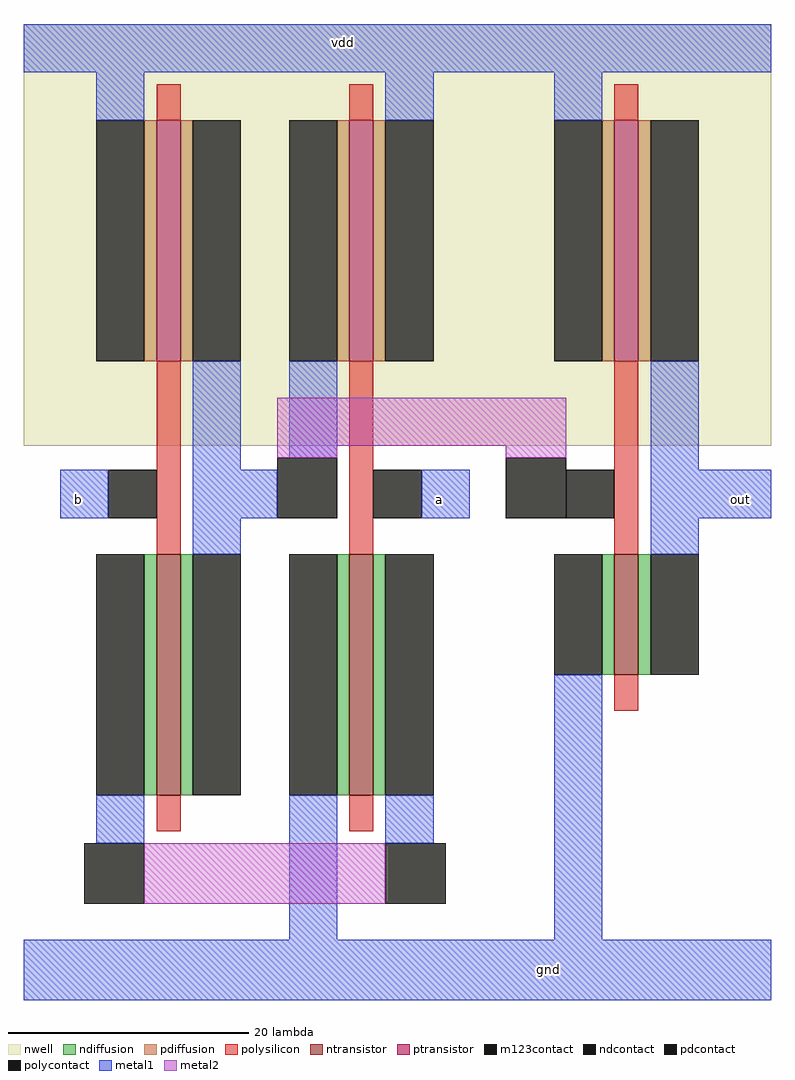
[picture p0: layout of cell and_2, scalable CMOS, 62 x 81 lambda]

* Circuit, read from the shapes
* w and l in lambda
.subckt and_2 a b gnd out vdd
M1 n1 b n2 VSUBS nfet w=20 l=2
M2 n2 a gnd VSUBS nfet w=20 l=2
M3 out n1 gnd VSUBS nfet w=10 l=2
M4 n1 b vdd n3 pfet w=20 l=2
M5 vdd a n1 n3 pfet w=20 l=2
M6 out n1 vdd n3 pfet w=20 l=2
.ends

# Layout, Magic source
magic
tech scmos
<< nwell >>
rect -103 28 -41 63
<< ntransistor >>
rect -92 -1 -90 19
rect -76 -1 -74 19
rect -54 9 -52 19
<< ptransistor >>
rect -92 35 -90 55
rect -76 35 -74 55
rect -54 35 -52 55
<< ndiffusion >>
rect -93 -1 -92 19
rect -90 -1 -89 19
rect -77 -1 -76 19
rect -74 -1 -73 19
rect -55 9 -54 19
rect -52 9 -51 19
<< pdiffusion >>
rect -93 35 -92 55
rect -90 35 -89 55
rect -77 35 -76 55
rect -74 35 -73 55
rect -55 35 -54 55
rect -52 35 -51 55
<< ndcontact >>
rect -97 -1 -93 19
rect -89 -1 -85 19
rect -81 -1 -77 19
rect -73 -1 -69 19
rect -59 9 -55 19
rect -51 9 -47 19
<< pdcontact >>
rect -97 35 -93 55
rect -89 35 -85 55
rect -81 35 -77 55
rect -73 35 -69 55
rect -59 35 -55 55
rect -51 35 -47 55
<< polysilicon >>
rect -92 55 -90 58
rect -76 55 -74 58
rect -54 55 -52 58
rect -92 19 -90 35
rect -76 19 -74 35
rect -54 19 -52 35
rect -54 6 -52 9
rect -92 -4 -90 -1
rect -76 -4 -74 -1
<< polycontact >>
rect -96 22 -92 26
rect -74 22 -70 26
rect -58 22 -54 26
<< metal1 >>
rect -103 59 -41 63
rect -97 55 -93 59
rect -73 55 -69 59
rect -89 26 -85 35
rect -59 55 -55 59
rect -81 27 -77 35
rect -100 22 -96 26
rect -89 22 -82 26
rect -70 22 -66 26
rect -51 26 -47 35
rect -51 22 -41 26
rect -89 19 -85 22
rect -51 19 -47 22
rect -97 -5 -93 -1
rect -81 -13 -77 -1
rect -73 -5 -69 -1
rect -59 -13 -55 9
rect -103 -18 -41 -13
<< metal2 >>
rect -82 28 -58 32
rect -82 27 -77 28
rect -63 27 -58 28
rect -93 -10 -73 -5
<< m123contact >>
rect -82 22 -77 27
rect -63 22 -58 27
rect -98 -10 -93 -5
rect -73 -10 -68 -5
<< labels >>
rlabel metal1 -44 23 -43 24 7 out
rlabel metal1 -69 23 -68 24 1 a
rlabel metal1 -77 61 -76 62 5 vdd
rlabel metal1 -99 23 -98 24 3 b
rlabel metal1 -60 -16 -59 -15 1 gnd
<< end >>
